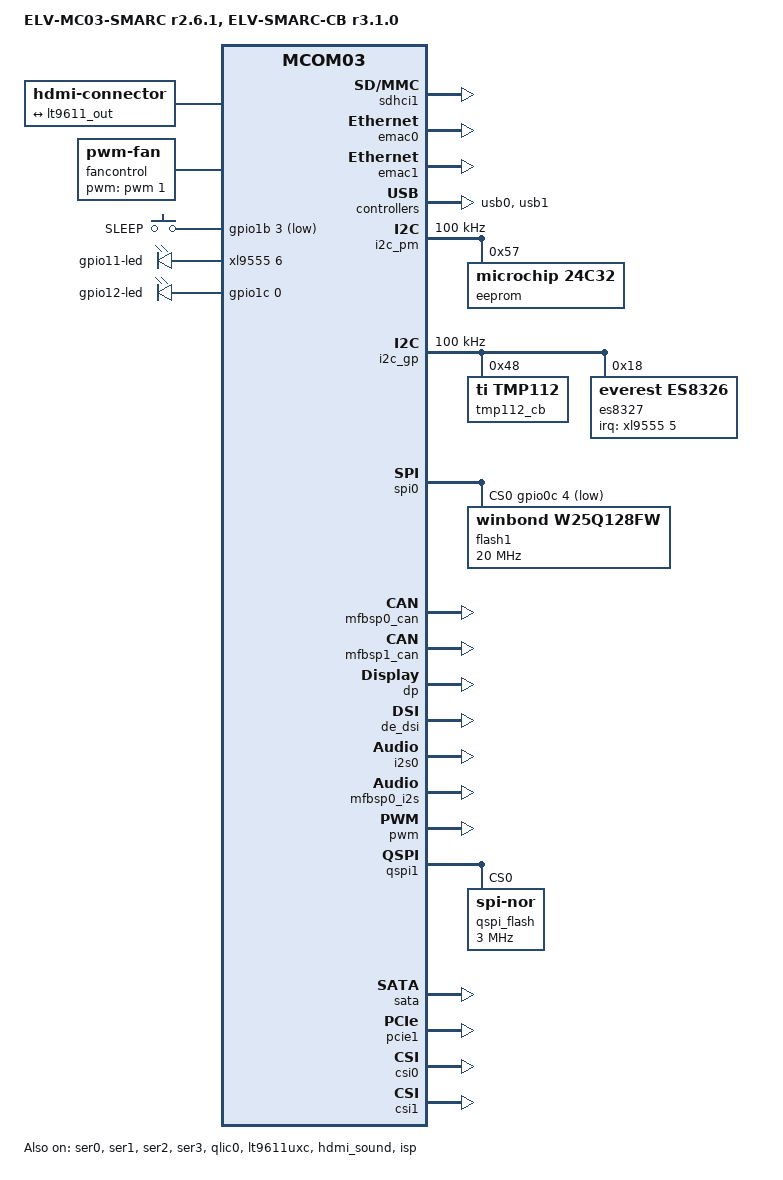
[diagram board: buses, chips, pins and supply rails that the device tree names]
// SPDX-License-Identifier: GPL-2.0+
/*
 * Copyright 2023 RnD Center "ELVEES", JSC
 */

/dts-v1/;

#include <dt-bindings/gpio/gpio.h>
#include <dt-bindings/input/input.h>

#include "mcom03-elvmc03smarc-r2.6.1.dtsi"

/ {
	model = "ELV-MC03-SMARC r2.6.1, ELV-SMARC-CB r3.1.0";
	compatible = "elvees,elvmc03smarc-r2.6.1-elvsmarccb-r3.1.0",
		     "elvees,elvmc03smarc-elvsmarccb",
		     "elvees,elvsmarccb-r3.1.0",
		     "elvees,elvsmarccb",
		     "elvees,elvmc03smarc-r2.6.1",
		     "elvees,elvmc03smarc",
		     "elvees,mcom03";

	aliases {
		i2c5 = &i2c_cam0;
		i2c6 = &i2c_cam1;
	};

	chosen {
		stdout-path = "serial0:115200n8";
	};

	hdmi_connector: hdmi-connector {
		compatible = "hdmi-connector";
		label = "hdmi";

		type = "a";

		port {
			hdmi_connector_in: endpoint {
				remote-endpoint = <&lt9611_out>;
			};
		};
	};

	elvsmarccb_asound {
		compatible = "simple-audio-card";
		simple-audio-card,name = "analog-audio";
		simple-audio-card,format = "i2s";
		simple-audio-card,bitclock-master = <&dailink1_master>;
		simple-audio-card,frame-master = <&dailink1_master>;
		simple-audio-card,continuous-clock;

		dailink1_master: simple-audio-card,cpu {
				sound-dai = <&mfbsp0_i2s>;
		};

		simple-audio-card,codec {
				sound-dai = <&es8327>;
		};
	};

	fancontrol: pwm-fan {
		compatible = "pwm-fan";
		pwms = <&pwm 1 40000 0>;
		#cooling-cells = <2>;
		cooling-levels = <0 102 180 230>;
	};

	elvsmarccb-keys {
		compatible = "gpio-keys-polled";
		poll-interval = <100>;
		autorepeat;

		pinctrl-0 = <&sleep_button_default>;
		pinctrl-names = "default";

		sleep {
			gpios = <&gpio1b 3 GPIO_ACTIVE_LOW>;
			label = "SLEEP";
			linux,code = <KEY_SLEEP>;
		};
	};

	elvsmarccb-leds {
		compatible = "gpio-leds";

		gpio11-led {
			gpios = <&xl9555 6 GPIO_ACTIVE_HIGH>;
			default-state = "off";
		};

		gpio12-led {
			gpios = <&gpio1c 0 GPIO_ACTIVE_HIGH>;
			default-state = "off";
		};
	};
};

&sdhci1 {
	status = "okay";

	/* Disable 1.8V support
	 * Disable SDR50, SDR104 and DDR50 support
	 */
	sdhci-caps-mask = <0x7 0x4000000>;
	sdhci-caps = <0x0 0x0>;
};

&sdhci1_default {
	/* The default clock pad drive strength of 6 mA is insufficient
	 * for some ELV-SMARC-CBs resulting in unstable SDMMC performance
	 */
	clk {
		pins = "SDMMC1_CLK";
		drive-strength = <8>;
	};
};

&lsperiph1_pinctrl {
	sleep_button_default: sleep-button-cfg {
		pins = "GPIOB_3";
		input-enable;
	};
};

/* Connects to XP8(RS-232) or XP9(RS-485) chosen by SA5 switch */
&ser0 {
	status = "okay";

	pinctrl-names = "default";
	pinctrl-0 = <&uart3_mux_data &uart3_mux_rtscts>;
};

/* Connects to debug USB Type-C port */
&ser1 {
	status = "okay";
};

/* Connects to XP12 RPi header */
&ser2 {
	status = "okay";
};

/* Connects to XP11 */
&ser3 {
	status = "okay";
};

&emac0 {
	status = "okay";
};

&emac1 {
	status = "okay";
};

&usb0 {
	status = "okay";
};

/* Connected to USB 3.0 hub */
&usb1 {
	status = "okay";
};

&i2c_pm {
	status = "okay";
	// not tested to work on 400k
	clock-frequency = <100000>;

	eeprom@57 {
		compatible = "microchip,24c32", "atmel,24c32";
		reg = <0x57>;
	};
};

&i2c_gp {
	status = "okay";
	// not tested to work on 400k
	clock-frequency = <100000>;

	tmp112_cb: temperature-sensor@48 {
		compatible = "ti,tmp112";
		reg = <0x48>;
	};

	es8327: codec@18 {
		compatible = "everest,es8326";
		reg = <0x18>;

		interrupt-parent = <&xl9555>;
		interrupts = <5 IRQ_TYPE_EDGE_RISING>;

		clocks = <&audio_mclk>;
		clock-names = "mclk";
		#sound-dai-cells = <0>;
		everest,mic1-src = [22];
		everest,mic2-src = [44];
		everest,jack-pol = [0e];
		everest,interrupt-src = [08];
		everest,interrupt-clk = [45];
	};
};

&spi0 {
	status = "okay";
	num-cs = <2>;
	cs-gpios = <&gpio0c 4 GPIO_ACTIVE_LOW>, <&gpio0c 5 GPIO_ACTIVE_LOW>;

	flash1: w25q128jw@0 {
		#address-cells = <1>;
		#size-cells = <1>;
		compatible = "winbond,w25q128fw", "jedec,spi-nor";
		spi-max-frequency = <20000000>;
		reg = <0x0>;
	};
};

/* Connected to XP3 socket through CAN transceiver */
&mfbsp0_can {
	status = "okay";
};

/* Connected to XP3 socket through CAN transceiver */
&mfbsp1_can {
	status = "okay";
};

&qlic0 {
	status = "okay";
};

&dp {
	status = "okay";
};

&de_dsi {
	status = "okay";
};

&lt9611uxc {
	status = "okay";

	ports {
		port@2 {
			reg = <2>;
			lt9611_out: endpoint {
				remote-endpoint = <&hdmi_connector_in>;
			};
		};
	};
};

&hdmi_sound {
	status = "okay";
};

&i2s0 {
	status = "okay";
};

/* SMARC S38-42 (I2S0*) pins connected to mfbsp0 */
&mfbsp0_i2s {
	status = "okay";
};

&audio_mclk {
	status = "okay";
};

&pwm {
		status = "okay";
		elvees,output-channel = <0 1 0 0>;
		elvees,state-on-disable = <0 1 0 0>;

		pinctrl-names = "default";
		pinctrl-0 = <&pwm_oenb1_mux>;
};

/*
 * Upon reaching the trip point the thermal subsystem driver enables the fans.
 *
 * Thermal zones can be enabled/disabled via sysfs by writing said state into
 * the corresponding /sys/class/thermal/thermal_zoneX/mode file.
 */
&cpu_thermal {
	cooling_maps: cooling-maps {
		map0 {
			trip = <&cpu_alert0>;
			cooling-device = <&fancontrol
					  THERMAL_NO_LIMIT
					  THERMAL_NO_LIMIT>;
		};
	};
};

&qspi1 {
	status = "okay";

	qspi_flash: spi-nor@0 {
		#address-cells = <1>;
		#size-cells = <1>;
		compatible = "jedec,spi-nor", "spi-flash";
		reg = <0x0>;
		/* Highest frequency for IC installed into socket */
		spi-max-frequency = <3000000>;
		m25p,fast-read;
	};
};

&qspi1_default {
	/* Max clock frequency is 1 MHz with default pad drive strength.
	 * This value increases max clock frequency to 3 MHz */
	clk {
		drive-strength = <10>;
	};
};

&sata {
	status = "okay";
};

&pcie1 {
	status = "okay";
};

&isp {
	status = "okay";
};

&csi0 {
	status = "okay";
};

&csi1 {
	status = "okay";
};
